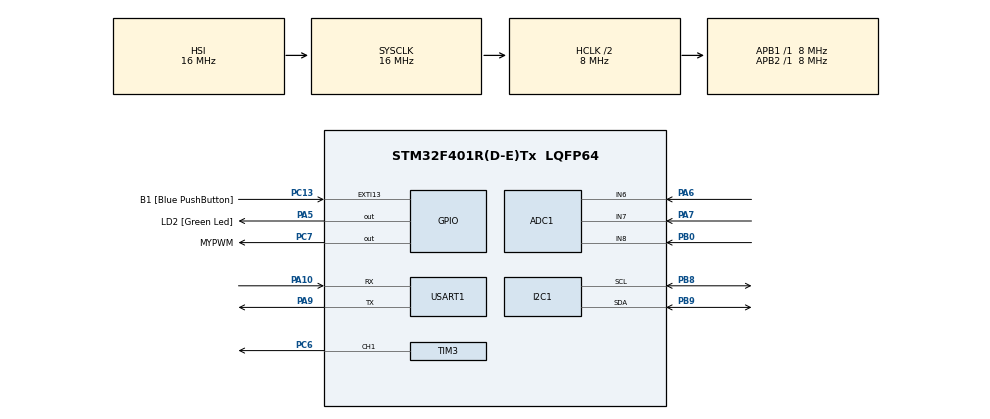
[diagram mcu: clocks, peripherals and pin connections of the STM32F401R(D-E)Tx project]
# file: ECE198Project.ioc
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ADC1.Channel-0\#ChannelRegularConversion=ADC_CHANNEL_6
ADC1.Channel-1\#ChannelRegularConversion=ADC_CHANNEL_7
ADC1.ContinuousConvMode=ENABLE
ADC1.NbrOfConversion=2
ADC1.NbrOfConversionFlag=1
ADC1.Rank-0\#ChannelRegularConversion=1
ADC1.Rank-1\#ChannelRegularConversion=2
ADC1.SamplingTime-0\#ChannelRegularConversion=ADC_SAMPLETIME_480CYCLES
ADC1.SamplingTime-1\#ChannelRegularConversion=ADC_SAMPLETIME_480CYCLES
ADC1.master=1
Dma.ADC1.0.Direction=DMA_PERIPH_TO_MEMORY
Dma.ADC1.0.FIFOMode=DMA_FIFOMODE_DISABLE
Dma.ADC1.0.Instance=DMA2_Stream0
Dma.ADC1.0.MemDataAlignment=DMA_MDATAALIGN_WORD
Dma.ADC1.0.MemInc=DMA_MINC_ENABLE
Dma.ADC1.0.Mode=DMA_CIRCULAR
Dma.ADC1.0.PeriphDataAlignment=DMA_PDATAALIGN_WORD
Dma.ADC1.0.PeriphInc=DMA_PINC_DISABLE
Dma.ADC1.0.Priority=DMA_PRIORITY_LOW
Dma.Request0=ADC1
Dma.Request1=TIM3_CH1/TRIG
Dma.TIM3_CH1/TRIG.1.Direction=DMA_MEMORY_TO_PERIPH
Dma.TIM3_CH1/TRIG.1.FIFOMode=DMA_FIFOMODE_DISABLE
Dma.TIM3_CH1/TRIG.1.Instance=DMA1_Stream4
Dma.TIM3_CH1/TRIG.1.MemDataAlignment=DMA_MDATAALIGN_HALFWORD
Dma.TIM3_CH1/TRIG.1.MemInc=DMA_MINC_ENABLE
Dma.TIM3_CH1/TRIG.1.Mode=DMA_NORMAL
Dma.TIM3_CH1/TRIG.1.PeriphDataAlignment=DMA_PDATAALIGN_HALFWORD
Dma.TIM3_CH1/TRIG.1.PeriphInc=DMA_PINC_DISABLE
Dma.TIM3_CH1/TRIG.1.Priority=DMA_PRIORITY_LOW
Mcu.Family=STM32F4
Mcu.Name=STM32F401R(D-E)Tx
Mcu.Package=LQFP64
NVIC.DMA1_Stream4_IRQn=true\:0\:0\:false\:false\:true\:false\:true\:true
NVIC.DMA2_Stream0_IRQn=true\:0\:0\:false\:false\:true\:false\:true\:true
NVIC.PriorityGroup=NVIC_PRIORITYGROUP_0
PA10.Mode=Asynchronous
PA10.Signal=USART1_RX
PA13.GPIO_Label=TMS
PA13.Mode=Serial_Wire
PA13.Signal=SYS_JTMS-SWDIO
PA14.GPIO_Label=TCK
PA14.Mode=Serial_Wire
PA14.Signal=SYS_JTCK-SWCLK
PA2.GPIO_Label=USART_TX
PA2.GPIO_Mode=GPIO_MODE_AF_PP
PA2.GPIO_PuPd=GPIO_NOPULL
PA2.GPIO_Speed=GPIO_SPEED_FREQ_LOW
PA2.Signal=USART2_TX
PA3.GPIO_Label=USART_RX
PA3.GPIO_Mode=GPIO_MODE_AF_PP
PA3.GPIO_PuPd=GPIO_NOPULL
PA3.GPIO_Speed=GPIO_SPEED_FREQ_LOW
PA3.Signal=USART2_RX
PA5.GPIO_Label=LD2 [Green Led]
PA5.GPIO_Mode=GPIO_MODE_OUTPUT_PP
PA5.GPIO_PuPd=GPIO_NOPULL
PA5.GPIO_Speed=GPIO_SPEED_FREQ_LOW
PA5.Signal=GPIO_Output
PA6.Signal=ADCx_IN6
PA7.Signal=ADCx_IN7
PA9.Mode=Asynchronous
PA9.Signal=USART1_TX
PB0.Signal=ADCx_IN8
PB3.GPIO_Label=SWO
PB3.Signal=SYS_JTDO-SWO
PB8.Mode=I2C
PB8.Signal=I2C1_SCL
PB9.Mode=I2C
PB9.Signal=I2C1_SDA
PC13-ANTI_TAMP.GPIO_Label=B1 [Blue PushButton]
PC13-ANTI_TAMP.GPIO_ModeDefaultEXTI=GPIO_MODE_IT_FALLING
PC13-ANTI_TAMP.GPIO_PuPd=GPIO_NOPULL
PC13-ANTI_TAMP.Signal=GPXTI13
PC14-OSC32_IN.Mode=LSE-External-Oscillator
PC14-OSC32_IN.Signal=RCC_OSC32_IN
PC15-OSC32_OUT.Mode=LSE-External-Oscillator
PC15-OSC32_OUT.Signal=RCC_OSC32_OUT
PC6.Signal=S_TIM3_CH1
PC7.GPIO_Label=MYPWM
PC7.Signal=GPIO_Output
PH0\ -\ OSC_IN.Mode=HSE-External-Clock-Source
PH0\ -\ OSC_IN.Signal=RCC_OSC_IN
PH1\ -\ OSC_OUT.Mode=HSE-External-Clock-Source
PH1\ -\ OSC_OUT.Signal=RCC_OSC_OUT
ProjectManager.HeapSize=0x200
ProjectManager.StackSize=0x400
ProjectManager.TargetToolchain=STM32CubeIDE
RCC.48MHZClocksFreq_Value=27428571.42857143
RCC.AHBCLKDivider=RCC_SYSCLK_DIV2
RCC.AHBFreq_Value=8000000
RCC.APB1Freq_Value=8000000
RCC.APB1TimFreq_Value=8000000
RCC.APB2Freq_Value=8000000
RCC.APB2TimFreq_Value=8000000
RCC.CortexFreq_Value=8000000
RCC.HCLKFreq_Value=8000000
RCC.HSE_VALUE=8000000
RCC.HSI_VALUE=16000000
RCC.PLLQ=7
RCC.SYSCLKFreq_VALUE=16000000
RCC.VCOOutputFreq_Value=192000000
SH.ADCx_IN6.0=ADC1_IN6,IN6
SH.ADCx_IN7.0=ADC1_IN7,IN7
SH.ADCx_IN8.0=ADC1_IN8,IN8
SH.S_TIM3_CH1.0=TIM3_CH1,PWM Generation1 CH1
TIM3.AutoReloadPreload=TIM_AUTORELOAD_PRELOAD_ENABLE
TIM3.Channel-PWM\ Generation1\ CH1=TIM_CHANNEL_1
TIM3.Period=9999
TIM3.Prescaler=15
TIM3.Pulse-PWM\ Generation1\ CH1=250
USART1.VirtualMode=VM_ASYNC
VP_TIM2_VS_ClockSourceINT.Mode=Internal
VP_TIM3_VS_ClockSourceINT.Mode=Internal
board=NUCLEO-F401RE

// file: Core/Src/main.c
/* USER CODE BEGIN Header */
/**
  ******************************************************************************
  * @file           : main.c
  * @brief          : Main program body
  ******************************************************************************
  * @attention
  *
  * Copyright (c) 2023 STMicroelectronics.
  * All rights reserved.
  *
  * This software is licensed under terms that can be found in the LICENSE file
  * in the root directory of this software component.
  * If no LICENSE file comes with this software, it is provided AS-IS.
  *
  ******************************************************************************
  */
/* USER CODE END Header */
#include "main.h"

/* USER CODE BEGIN Includes */
#include "liquidcrystal_i2c.h"
/* USER CODE END Includes */

ADC_HandleTypeDef hadc1;
DMA_HandleTypeDef hdma_adc1;

I2C_HandleTypeDef hi2c1;

TIM_HandleTypeDef htim2;
TIM_HandleTypeDef htim3;
DMA_HandleTypeDef hdma_tim3_ch1_trig;

UART_HandleTypeDef huart1;

void SystemClock_Config(void);
static void MX_GPIO_Init(void);
static void MX_DMA_Init(void);
static void MX_I2C1_Init(void);
static void MX_ADC1_Init(void);
static void MX_USART1_UART_Init(void);
static void MX_TIM3_Init(void);
static void MX_TIM2_Init(void);

/* USER CODE BEGIN 0 */
#define LD2_PIN GPIO_PIN_5
#define LD2_PORT GPIOA

int ADC_READ(uint32_t ADC_CHANNEL) {
    ADC_ChannelConfTypeDef sConfig = {0};
    sConfig.Channel = ADC_CHANNEL;
    sConfig.Rank = 1;
    sConfig.SamplingTime = ADC_SAMPLETIME_15CYCLES;

    if (HAL_ADC_ConfigChannel(&hadc1, &sConfig) != HAL_OK){
        Error_Handler();
    }

    HAL_ADC_Start(&hadc1);

    HAL_ADC_PollForConversion(&hadc1, 1);
    return HAL_ADC_GetValue(&hadc1);
}

/* USER CODE END 0 */

int main(void)
{

  /* MCU Configuration--------------------------------------------------------*/

  /* Reset of all peripherals, Initializes the Flash interface and the Systick. */
  HAL_Init();

  /* Configure the system clock */
  SystemClock_Config();

  /* Initialize all configured peripherals */
  MX_GPIO_Init();
  MX_DMA_Init();
  MX_I2C1_Init();
  MX_ADC1_Init();
  MX_USART1_UART_Init();
  MX_TIM3_Init();
  MX_TIM2_Init();
  /* USER CODE BEGIN 2 */
  char printout[16];

  long refreshRate = 2;
  uint32_t lastRefreshTick = HAL_GetTick();
  uint32_t now;
  HD44780_Init(2);

  uint16_t joystick_val[3];
  char cursor_x = 0;
  _Bool cursor_y = 1;
  _Bool went_right = 0;
  _Bool went_left = 0;
  _Bool went_y = 0;
  _Bool pressed = 0;

  char time[3] = {0};
  char time_limit[3] = {24, 60,60};
  char* time_print[] = {"hr ", "min", "sec"};
  char time_state = 0;
  unsigned short adding[] = {1, 5, 10, 20};
  unsigned int time_remaining;
  uint32_t start_time;
  unsigned int total_time;

  int remaining_pause;

  _Bool servo_state = 0;
  HAL_TIM_PWM_Start(&htim3, TIM_CHANNEL_1);

  enum Page screen = SELECTING;

  /* USER CODE END 2 */

  /* Infinite loop */
  while (1) {

    /* USER CODE BEGIN 3 */
      // Start conversion for Channel 6 (PA0)

      now = HAL_GetTick();

      joystick_val[0] = ADC_READ(ADC_CHANNEL_6);//x_axis
      joystick_val[1] = ADC_READ(ADC_CHANNEL_7);//y_axis
      joystick_val[2] = ADC_READ(ADC_CHANNEL_8);//Switch button

      if(screen == SELECTING) {
          if (!went_right && joystick_val[0] > 4000) {
              went_right = 1;
          } else if (went_right && joystick_val[0] < 4000) {
              if (cursor_y)
                  cursor_x = (cursor_x + 4) % 16;
              else
                  cursor_x = 12;
              went_right = 0;
          }
          if (!went_left && joystick_val[0] < 20) {
              went_left = 1;
          } else if (went_left && joystick_val[0] > 20) {
              if (cursor_y)
                  cursor_x = (cursor_x - 4) % 16;
              else
                  cursor_x = 8;
              went_left = 0;
          }

          if (pressed == 0 && joystick_val[2] < 20) {
              pressed = 1;
              if (cursor_y) {
                  time[time_state] = (time[time_state] + adding[cursor_x / 4]) % time_limit[time_state];
              }
              else {
                  if (cursor_x == 8) {
                      time_state++;
                      if(time_state > 2){
                          time_state = 2;
                          screen = CONFIRMING;
                          cursor_x = 1;
                      }
                  } else {
                      time_state--;
                      time_state = time_state < 0 ? 0 : time_state;
                  }
              }
          } else if (pressed && joystick_val[2] > 20) {
              pressed = 0;
          }

          if (!went_y && joystick_val[1] > 4000) {
              went_y = 1;
          } else if (went_y && joystick_val[1] < 4000) {
              cursor_y = 0;
              cursor_x = 8;
              went_y = 0;
          }
          if (!went_y && joystick_val[1] < 20) {
              went_y = 1;
          } else if (went_y && joystick_val[1] > 20) {
              cursor_y = 1;
              cursor_x = 0;
              went_y = 0;
          }
      }
      else if(screen == CONFIRMING){
          if (!went_right && joystick_val[0] > 4000) {
              went_right = 1;
          } else if (went_right && joystick_val[0] < 4000) {
              cursor_x = 9;
              went_right = 0;
          }
          if (!went_left && joystick_val[0] < 20) {
              went_left = 1;
          } else if (went_left && joystick_val[0] > 20) {
              cursor_x = 1;
              went_left = 0;
          }

          if (pressed == 0 && joystick_val[2] < 20) {
              pressed = 1;
              if(cursor_x == 9){
                  screen = SELECTING;
                  cursor_x = 0;
                  cursor_y = 1;
              }
              else if (cursor_x == 1){
                  screen = COUNTING;
                  start_time = now;
                  total_time = (time[0]*3600 + time[1]*60 + time[2])*1000;
                  servo_state = 1;
                  remaining_pause = 2;
                  cursor_x = 6;
              }
          } else if (pressed && joystick_val[2] > 20) {
              pressed = 0;
          }
      }
      else if(screen == COUNTING){
            if(now-start_time > total_time){
                screen = REMINDING;
                servo_state = 0;
            }
            time_remaining = total_time - (now - start_time);

            if (!went_right && joystick_val[0] > 4000) {
              went_right = 1;
            } else if (went_right && joystick_val[0] < 4000) {
              cursor_x = 7;
              went_right = 0;
            }
            if (!went_left && joystick_val[0] < 20) {
              went_left = 1;
            } else if (went_left && joystick_val[0] > 20) {
              cursor_x = 6;
              went_left = 0;
            }

            if (pressed == 0 && joystick_val[2] < 20) {
              pressed = 1;
              if(cursor_x == 7 && remaining_pause > 0){
                  screen = PAUSING;
                  servo_state = 0;
                  remaining_pause--;
              }
            } else if (pressed && joystick_val[2] > 20) {
              pressed = 0;
            }
      }
      else if(screen == PAUSING){
          if (pressed == 0 && joystick_val[2] < 20) {
              pressed = 1;
              screen = COUNTING;
              servo_state = 1;
              total_time = time_remaining;
              start_time = now;
              cursor_x = 6;
          } else if (pressed && joystick_val[2] > 20) {
              pressed = 0;
          }
      }
      else{
          if (pressed == 0 && joystick_val[2] < 20) {
              pressed = 1;
              screen = SELECTING;
              cursor_x = 0;
              cursor_y = 1;
              time[0] = time[1] = time[2] = 0;
              time_state = 0;
          } else if (pressed && joystick_val[2] > 20) {
              pressed = 0;
          }
      }
//
      if(now - lastRefreshTick >= 1000 / refreshRate){
          HD44780_Clear();
          if(screen == SELECTING) {
              HD44780_SetCursor(0, 1);
              HD44780_PrintStr(" +01 +05 +10 +20");
              HD44780_SetCursor(0, 0);
              sprintf(printout, "%s:%d", time_print[time_state], time[time_state]);
              HD44780_PrintStr(printout);
              HD44780_SetCursor(9, 0);
              HD44780_PrintStr("->  <-");
              HD44780_SetCursor(cursor_x, cursor_y);
              HD44780_Blink();
          }
          else if(screen == CONFIRMING){
              HD44780_SetCursor(0,0);
              sprintf(printout, "%d:%d:%d", time[0], time[1], time[2]);
              HD44780_PrintStr(printout);
              HD44780_SetCursor(0,1);
              HD44780_PrintStr("  Start   Back");
              HD44780_SetCursor(cursor_x, 1);
              HD44780_Blink();
          }
          else if(screen == COUNTING){
              HD44780_SetCursor(0,0);
              sprintf(printout, "Left:   Pauses:%d", remaining_pause);
              HD44780_PrintStr(printout);
              HD44780_SetCursor(0,1);
              sprintf(printout, "%d:%d:%d", time_remaining/1000/3600,
                      time_remaining/1000%3600/60, time_remaining/1000%3600%60);
              HD44780_PrintStr(printout);
              HD44780_SetCursor(cursor_x, 0);
              HD44780_Blink();
          }
          else if(screen == PAUSING){
              HD44780_SetCursor(0,0);
              HD44780_PrintStr(" Restart");
              HD44780_SetCursor(0,1);
              sprintf(printout, "%d:%d:%d", time_remaining/1000/3600,
                      time_remaining/1000%3600/60, time_remaining/1000%3600%60);
              HD44780_PrintStr(printout);
              HD44780_SetCursor(0,0);
              HD44780_Blink();
          }
          else{
              HD44780_SetCursor(0,0);
              HD44780_PrintStr("Over");
              HD44780_SetCursor(0,1);
              HD44780_PrintStr(" Restart");
              HD44780_SetCursor(0,1);
              HD44780_Blink();
          }
          lastRefreshTick = now;
      }
      __HAL_TIM_SET_COMPARE(&htim3, TIM_CHANNEL_1, 1250 - servo_state*500);

  }
  /* USER CODE END 3 */
}

void SystemClock_Config(void)
{
  RCC_OscInitTypeDef RCC_OscInitStruct = {0};
  RCC_ClkInitTypeDef RCC_ClkInitStruct = {0};

  /** Configure the main internal regulator output voltage
  */
  __HAL_RCC_PWR_CLK_ENABLE();
  __HAL_PWR_VOLTAGESCALING_CONFIG(PWR_REGULATOR_VOLTAGE_SCALE2);

  /** Initializes the RCC Oscillators according to the specified parameters
  * in the RCC_OscInitTypeDef structure.
  */
  RCC_OscInitStruct.OscillatorType = RCC_OSCILLATORTYPE_HSI;
  RCC_OscInitStruct.HSIState = RCC_HSI_ON;
  RCC_OscInitStruct.HSICalibrationValue = RCC_HSICALIBRATION_DEFAULT;
  RCC_OscInitStruct.PLL.PLLState = RCC_PLL_NONE;
  if (HAL_RCC_OscConfig(&RCC_OscInitStruct) != HAL_OK)
  {
    Error_Handler();
  }

  /** Initializes the CPU, AHB and APB buses clocks
  */
  RCC_ClkInitStruct.ClockType = RCC_CLOCKTYPE_HCLK|RCC_CLOCKTYPE_SYSCLK
                              |RCC_CLOCKTYPE_PCLK1|RCC_CLOCKTYPE_PCLK2;
  RCC_ClkInitStruct.SYSCLKSource = RCC_SYSCLKSOURCE_HSI;
  RCC_ClkInitStruct.AHBCLKDivider = RCC_SYSCLK_DIV2;
  RCC_ClkInitStruct.APB1CLKDivider = RCC_HCLK_DIV1;
  RCC_ClkInitStruct.APB2CLKDivider = RCC_HCLK_DIV1;

  if (HAL_RCC_ClockConfig(&RCC_ClkInitStruct, FLASH_LATENCY_0) != HAL_OK)
  {
    Error_Handler();
  }
}

static void MX_ADC1_Init(void)
{

  ADC_ChannelConfTypeDef sConfig = {0};

  /** Configure the global features of the ADC (Clock, Resolution, Data Alignment and number of conversion)
  */
  hadc1.Instance = ADC1;
  hadc1.Init.ClockPrescaler = ADC_CLOCK_SYNC_PCLK_DIV2;
  hadc1.Init.Resolution = ADC_RESOLUTION_12B;
  hadc1.Init.ScanConvMode = ENABLE;
  hadc1.Init.ContinuousConvMode = ENABLE;
  hadc1.Init.DiscontinuousConvMode = DISABLE;
  hadc1.Init.ExternalTrigConvEdge = ADC_EXTERNALTRIGCONVEDGE_NONE;
  hadc1.Init.ExternalTrigConv = ADC_SOFTWARE_START;
  hadc1.Init.DataAlign = ADC_DATAALIGN_RIGHT;
  hadc1.Init.NbrOfConversion = 2;
  hadc1.Init.DMAContinuousRequests = DISABLE;
  hadc1.Init.EOCSelection = ADC_EOC_SINGLE_CONV;
  if (HAL_ADC_Init(&hadc1) != HAL_OK)
  {
    Error_Handler();
  }

  /** Configure for the selected ADC regular channel its corresponding rank in the sequencer and its sample time.
  */
  sConfig.Channel = ADC_CHANNEL_6;
  sConfig.Rank = 1;
  sConfig.SamplingTime = ADC_SAMPLETIME_480CYCLES;
  if (HAL_ADC_ConfigChannel(&hadc1, &sConfig) != HAL_OK)
  {
    Error_Handler();
  }

  /** Configure for the selected ADC regular channel its corresponding rank in the sequencer and its sample time.
  */
  sConfig.Channel = ADC_CHANNEL_7;
  sConfig.Rank = 2;
  if (HAL_ADC_ConfigChannel(&hadc1, &sConfig) != HAL_OK)
  {
    Error_Handler();
  }

}

static void MX_I2C1_Init(void)
{

  hi2c1.Instance = I2C1;
  hi2c1.Init.ClockSpeed = 100000;
  hi2c1.Init.DutyCycle = I2C_DUTYCYCLE_2;
  hi2c1.Init.OwnAddress1 = 0;
  hi2c1.Init.AddressingMode = I2C_ADDRESSINGMODE_7BIT;
  hi2c1.Init.DualAddressMode = I2C_DUALADDRESS_DISABLE;
  hi2c1.Init.OwnAddress2 = 0;
  hi2c1.Init.GeneralCallMode = I2C_GENERALCALL_DISABLE;
  hi2c1.Init.NoStretchMode = I2C_NOSTRETCH_DISABLE;
  if (HAL_I2C_Init(&hi2c1) != HAL_OK)
  {
    Error_Handler();
  }

}

static void MX_TIM2_Init(void)
{

  TIM_ClockConfigTypeDef sClockSourceConfig = {0};
  TIM_MasterConfigTypeDef sMasterConfig = {0};

  htim2.Instance = TIM2;
  htim2.Init.Prescaler = 0;
  htim2.Init.CounterMode = TIM_COUNTERMODE_UP;
  htim2.Init.Period = 4294967295;
  htim2.Init.ClockDivision = TIM_CLOCKDIVISION_DIV1;
  htim2.Init.AutoReloadPreload = TIM_AUTORELOAD_PRELOAD_DISABLE;
  if (HAL_TIM_Base_Init(&htim2) != HAL_OK)
  {
    Error_Handler();
  }
  sClockSourceConfig.ClockSource = TIM_CLOCKSOURCE_INTERNAL;
  if (HAL_TIM_ConfigClockSource(&htim2, &sClockSourceConfig) != HAL_OK)
  {
    Error_Handler();
  }
  sMasterConfig.MasterOutputTrigger = TIM_TRGO_RESET;
  sMasterConfig.MasterSlaveMode = TIM_MASTERSLAVEMODE_DISABLE;
  if (HAL_TIMEx_MasterConfigSynchronization(&htim2, &sMasterConfig) != HAL_OK)
  {
    Error_Handler();
  }

}

static void MX_TIM3_Init(void)
{

  TIM_ClockConfigTypeDef sClockSourceConfig = {0};
  TIM_MasterConfigTypeDef sMasterConfig = {0};
  TIM_OC_InitTypeDef sConfigOC = {0};

  htim3.Instance = TIM3;
  htim3.Init.Prescaler = 15;
  htim3.Init.CounterMode = TIM_COUNTERMODE_UP;
  htim3.Init.Period = 9999;
  htim3.Init.ClockDivision = TIM_CLOCKDIVISION_DIV1;
  htim3.Init.AutoReloadPreload = TIM_AUTORELOAD_PRELOAD_ENABLE;
  if (HAL_TIM_Base_Init(&htim3) != HAL_OK)
  {
    Error_Handler();
  }
  sClockSourceConfig.ClockSource = TIM_CLOCKSOURCE_INTERNAL;
  if (HAL_TIM_ConfigClockSource(&htim3, &sClockSourceConfig) != HAL_OK)
  {
    Error_Handler();
  }
  if (HAL_TIM_PWM_Init(&htim3) != HAL_OK)
  {
    Error_Handler();
  }
  sMasterConfig.MasterOutputTrigger = TIM_TRGO_RESET;
  sMasterConfig.MasterSlaveMode = TIM_MASTERSLAVEMODE_DISABLE;
  if (HAL_TIMEx_MasterConfigSynchronization(&htim3, &sMasterConfig) != HAL_OK)
  {
    Error_Handler();
  }
  sConfigOC.OCMode = TIM_OCMODE_PWM1;
  sConfigOC.Pulse = 250;
  sConfigOC.OCPolarity = TIM_OCPOLARITY_HIGH;
  sConfigOC.OCFastMode = TIM_OCFAST_DISABLE;
  if (HAL_TIM_PWM_ConfigChannel(&htim3, &sConfigOC, TIM_CHANNEL_1) != HAL_OK)
  {
    Error_Handler();
  }
  HAL_TIM_MspPostInit(&htim3);

}

static void MX_USART1_UART_Init(void)
{

  huart1.Instance = USART1;
  huart1.Init.BaudRate = 115200;
  huart1.Init.WordLength = UART_WORDLENGTH_8B;
  huart1.Init.StopBits = UART_STOPBITS_1;
  huart1.Init.Parity = UART_PARITY_NONE;
  huart1.Init.Mode = UART_MODE_TX_RX;
  huart1.Init.HwFlowCtl = UART_HWCONTROL_NONE;
  huart1.Init.OverSampling = UART_OVERSAMPLING_16;
  if (HAL_UART_Init(&huart1) != HAL_OK)
  {
    Error_Handler();
  }

}

static void MX_DMA_Init(void)
{

  /* DMA controller clock enable */
  __HAL_RCC_DMA2_CLK_ENABLE();
  __HAL_RCC_DMA1_CLK_ENABLE();

  /* DMA interrupt init */
  /* DMA1_Stream4_IRQn interrupt configuration */
  HAL_NVIC_SetPriority(DMA1_Stream4_IRQn, 0, 0);
  HAL_NVIC_EnableIRQ(DMA1_Stream4_IRQn);
  /* DMA2_Stream0_IRQn interrupt configuration */
  HAL_NVIC_SetPriority(DMA2_Stream0_IRQn, 0, 0);
  HAL_NVIC_EnableIRQ(DMA2_Stream0_IRQn);

}

static void MX_GPIO_Init(void)
{
  GPIO_InitTypeDef GPIO_InitStruct = {0};

  /* GPIO Ports Clock Enable */
  __HAL_RCC_GPIOC_CLK_ENABLE();
  __HAL_RCC_GPIOH_CLK_ENABLE();
  __HAL_RCC_GPIOA_CLK_ENABLE();
  __HAL_RCC_GPIOB_CLK_ENABLE();

  /*Configure GPIO pin Output Level */
  HAL_GPIO_WritePin(LD2_GPIO_Port, LD2_Pin, GPIO_PIN_RESET);

  /*Configure GPIO pin Output Level */
  HAL_GPIO_WritePin(MYPWM_GPIO_Port, MYPWM_Pin, GPIO_PIN_RESET);

  /*Configure GPIO pin : B1_Pin */
  GPIO_InitStruct.Pin = B1_Pin;
  GPIO_InitStruct.Mode = GPIO_MODE_IT_FALLING;
  GPIO_InitStruct.Pull = GPIO_NOPULL;
  HAL_GPIO_Init(B1_GPIO_Port, &GPIO_InitStruct);

  /*Configure GPIO pins : USART_TX_Pin USART_RX_Pin */
  GPIO_InitStruct.Pin = USART_TX_Pin|USART_RX_Pin;
  GPIO_InitStruct.Mode = GPIO_MODE_AF_PP;
  GPIO_InitStruct.Pull = GPIO_NOPULL;
  GPIO_InitStruct.Speed = GPIO_SPEED_FREQ_LOW;
  GPIO_InitStruct.Alternate = GPIO_AF7_USART2;
  HAL_GPIO_Init(GPIOA, &GPIO_InitStruct);

  /*Configure GPIO pin : LD2_Pin */
  GPIO_InitStruct.Pin = LD2_Pin;
  GPIO_InitStruct.Mode = GPIO_MODE_OUTPUT_PP;
  GPIO_InitStruct.Pull = GPIO_NOPULL;
  GPIO_InitStruct.Speed = GPIO_SPEED_FREQ_LOW;
  HAL_GPIO_Init(LD2_GPIO_Port, &GPIO_InitStruct);

  /*Configure GPIO pin : MYPWM_Pin */
  GPIO_InitStruct.Pin = MYPWM_Pin;
  GPIO_InitStruct.Mode = GPIO_MODE_OUTPUT_PP;
  GPIO_InitStruct.Pull = GPIO_NOPULL;
  GPIO_InitStruct.Speed = GPIO_SPEED_FREQ_LOW;
  HAL_GPIO_Init(MYPWM_GPIO_Port, &GPIO_InitStruct);

}

void Error_Handler(void)
{
  __disable_irq();
  while (1)
  {
  }
}
